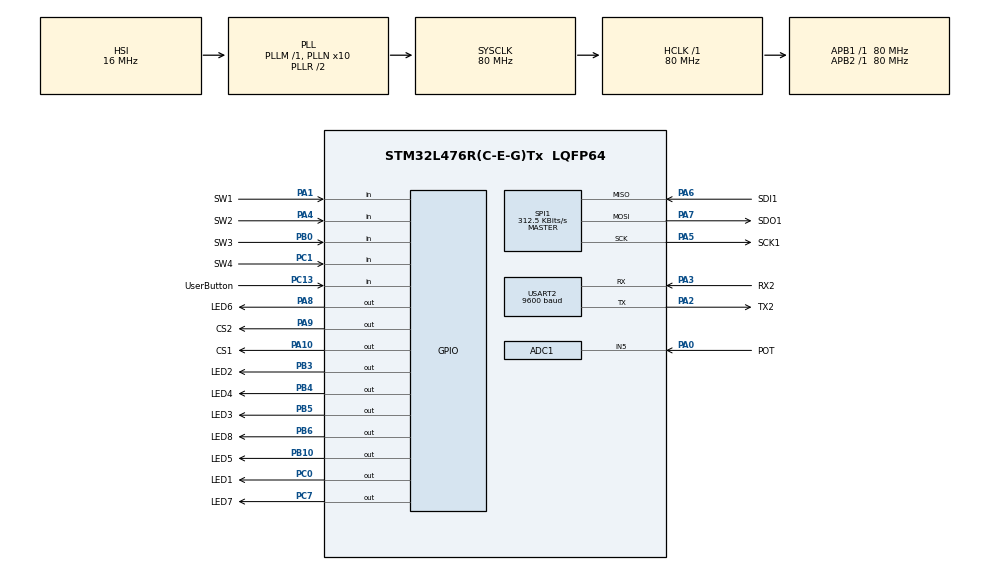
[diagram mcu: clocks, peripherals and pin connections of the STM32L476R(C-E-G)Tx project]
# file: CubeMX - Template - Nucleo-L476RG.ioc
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ADC1.Channel-0\#ChannelRegularConversion=ADC_CHANNEL_5
ADC1.NbrOfConversionFlag=1
ADC1.OffsetNumber-0\#ChannelRegularConversion=ADC_OFFSET_NONE
ADC1.Overrun=ADC_OVR_DATA_OVERWRITTEN
ADC1.Rank-0\#ChannelRegularConversion=1
ADC1.Resolution=ADC_RESOLUTION_12B
ADC1.SamplingTime-0\#ChannelRegularConversion=ADC_SAMPLETIME_2CYCLES_5
ADC1.master=1
Dma.Request0=SPI1_TX
Dma.SPI1_TX.0.Direction=DMA_MEMORY_TO_PERIPH
Dma.SPI1_TX.0.Instance=DMA1_Channel3
Dma.SPI1_TX.0.MemDataAlignment=DMA_MDATAALIGN_BYTE
Dma.SPI1_TX.0.MemInc=DMA_MINC_ENABLE
Dma.SPI1_TX.0.Mode=DMA_NORMAL
Dma.SPI1_TX.0.PeriphDataAlignment=DMA_PDATAALIGN_BYTE
Dma.SPI1_TX.0.PeriphInc=DMA_PINC_DISABLE
Dma.SPI1_TX.0.Priority=DMA_PRIORITY_MEDIUM
Mcu.Family=STM32L4
Mcu.Name=STM32L476R(C-E-G)Tx
Mcu.Package=LQFP64
NVIC.DMA1_Channel3_IRQn=true\:0\:0\:false\:false\:true\:false\:true\:true
NVIC.PriorityGroup=NVIC_PRIORITYGROUP_4
PA0.GPIO_Label=POT
PA0.Signal=ADCx_IN5
PA1.GPIO_Label=SW1
PA1.Signal=GPIO_Input
PA10.GPIO_Label=CS1
PA10.Signal=GPIO_Output
PA13\ (JTMS-SWDIO).GPIO_Label=TMS
PA13\ (JTMS-SWDIO).Mode=Serial_Wire
PA13\ (JTMS-SWDIO).Signal=SYS_JTMS-SWDIO
PA14\ (JTCK-SWCLK).GPIO_Label=TCK
PA14\ (JTCK-SWCLK).Mode=Serial_Wire
PA14\ (JTCK-SWCLK).Signal=SYS_JTCK-SWCLK
PA2.GPIO_Label=TX2
PA2.GPIO_Mode=GPIO_MODE_AF_PP
PA2.GPIO_PuPd=GPIO_NOPULL
PA2.GPIO_Speed=GPIO_SPEED_FREQ_VERY_HIGH
PA2.Mode=Asynchronous
PA2.Signal=USART2_TX
PA3.GPIO_Label=RX2
PA3.GPIO_Mode=GPIO_MODE_AF_PP
PA3.GPIO_PuPd=GPIO_NOPULL
PA3.GPIO_Speed=GPIO_SPEED_FREQ_VERY_HIGH
PA3.Mode=Asynchronous
PA3.Signal=USART2_RX
PA4.GPIO_Label=SW2
PA4.Signal=GPIO_Input
PA5.GPIO_Label=SCK1
PA5.Mode=Full_Duplex_Master
PA5.Signal=SPI1_SCK
PA6.GPIO_Label=SDI1
PA6.Mode=Full_Duplex_Master
PA6.Signal=SPI1_MISO
PA7.GPIO_Label=SDO1
PA7.Mode=Full_Duplex_Master
PA7.Signal=SPI1_MOSI
PA8.GPIO_Label=LED6
PA8.Signal=GPIO_Output
PA9.GPIO_Label=CS2
PA9.Signal=GPIO_Output
PB0.GPIO_Label=SW3
PB0.Signal=GPIO_Input
PB10.GPIO_Label=LED5
PB10.Signal=GPIO_Output
PB3\ (JTDO-TRACESWO).GPIO_Label=LED2
PB3\ (JTDO-TRACESWO).Signal=GPIO_Output
PB4\ (NJTRST).GPIO_Label=LED4
PB4\ (NJTRST).Signal=GPIO_Output
PB5.GPIO_Label=LED3
PB5.Signal=GPIO_Output
PB6.GPIO_Label=LED8
PB6.Signal=GPIO_Output
PC0.GPIO_Label=LED1
PC0.Signal=GPIO_Output
PC1.GPIO_Label=SW4
PC1.Signal=GPIO_Input
PC13.GPIO_Label=UserButton
PC13.Signal=GPIO_Input
PC7.GPIO_Label=LED7
PC7.Signal=GPIO_Output
ProjectManager.HeapSize=0x200
ProjectManager.StackSize=0x400
ProjectManager.TargetToolchain=MDK-ARM V5.32
RCC.ADCFreq_Value=64000000
RCC.AHBFreq_Value=80000000
RCC.APB1Freq_Value=80000000
RCC.APB1TimFreq_Value=80000000
RCC.APB2Freq_Value=80000000
RCC.APB2TimFreq_Value=80000000
RCC.CortexFreq_Value=80000000
RCC.HCLKFreq_Value=80000000
RCC.HSE_VALUE=8000000
RCC.HSI_VALUE=16000000
RCC.LSE_VALUE=32768
RCC.MSI_VALUE=4000000
RCC.PLLN=10
RCC.PLLSourceVirtual=RCC_PLLSOURCE_HSI
RCC.PREFETCH_ENABLE=1
RCC.SYSCLKFreq_VALUE=80000000
RCC.SYSCLKSource=RCC_SYSCLKSOURCE_PLLCLK
RCC.USBFreq_Value=64000000
RCC.VCOOutputFreq_Value=160000000
SH.ADCx_IN5.0=ADC1_IN5,IN5-Single-Ended
SPI1.BaudRatePrescaler=SPI_BAUDRATEPRESCALER_256
SPI1.CalculateBaudRate=312.5 KBits/s
SPI1.DataSize=SPI_DATASIZE_8BIT
SPI1.Direction=SPI_DIRECTION_2LINES
SPI1.Mode=SPI_MODE_MASTER
SPI1.NSSPMode=SPI_NSS_PULSE_DISABLE
SPI1.VirtualType=VM_MASTER
USART2.BaudRate=9600
USART2.OverrunDisableParam=ADVFEATURE_OVERRUN_DISABLE
USART2.VirtualMode-Asynchronous=VM_ASYNC
board=NUCLEO-L476RG

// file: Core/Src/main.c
/* USER CODE BEGIN Header */
/**
  ******************************************************************************
  * @file           : main.c
  * @brief          : Main program body
  ******************************************************************************
  * @attention
  *
  * Copyright (c) 2023 STMicroelectronics.
  * All rights reserved.
  *
  * This software is licensed under terms that can be found in the LICENSE file
  * in the root directory of this software component.
  * If no LICENSE file comes with this software, it is provided AS-IS.
  *
  ******************************************************************************
  */
	// Versie: 20252026
/* USER CODE END Header */
#include "main.h"

/* USER CODE BEGIN Includes */
#include "leds.h"
#include "buttons.h"
#include "usart2.h"
#include "ad.h"
#include "ioexpander.h"
#include "stdio.h"
#include "apa102c.h"
/* USER CODE END Includes */

ADC_HandleTypeDef hadc1;

SPI_HandleTypeDef hspi1;
DMA_HandleTypeDef hdma_spi1_tx;

UART_HandleTypeDef huart2;

/* USER CODE BEGIN PV */
APA102C rgbLeds[NUMBER_OF_APA102C_LEDS];
uint8_t source[4 + NUMBER_OF_APA102C_LEDS * 4 + 4];
/* USER CODE END PV */

void SystemClock_Config(void);
static void MX_GPIO_Init(void);
static void MX_DMA_Init(void);
static void MX_ADC1_Init(void);
static void MX_USART2_UART_Init(void);
static void MX_SPI1_Init(void);

int main(void)
{

  /* MCU Configuration--------------------------------------------------------*/

  /* Reset of all peripherals, Initializes the Flash interface and the Systick. */
  HAL_Init();

  /* Configure the system clock */
  SystemClock_Config();

  /* Initialize all configured peripherals */
  MX_GPIO_Init();
  MX_DMA_Init();
  MX_ADC1_Init();
  MX_USART2_UART_Init();
  MX_SPI1_Init();
  /* USER CODE BEGIN 2 */
	// Laten weten dat we opgestart zijn, via de USART2 (USB).
	printf("Reboot\r\n");

	// RGB-LED's intialiseren op 0
	rgbLeds[0].brightness = DEFAULT_LED_BRIGHTNESS;
	rgbLeds[0].red = 0;
	rgbLeds[0].green = 0;
	rgbLeds[0].blue = 0;

	rgbLeds[1].brightness = DEFAULT_LED_BRIGHTNESS;
	rgbLeds[1].red = 0;
	rgbLeds[1].green = 0;
	rgbLeds[1].blue = 0;

	rgbLeds[2].brightness = DEFAULT_LED_BRIGHTNESS;
	rgbLeds[2].red = 0;
	rgbLeds[2].green = 0;
	rgbLeds[2].blue = 0;

	rgbLeds[3].brightness = DEFAULT_LED_BRIGHTNESS;
	rgbLeds[3].red = 0;
	rgbLeds[3].green = 0;
	rgbLeds[3].blue = 0;

	rgbLeds[4].brightness = DEFAULT_LED_BRIGHTNESS;
	rgbLeds[4].red = 0;
	rgbLeds[4].green = 0;
	rgbLeds[4].blue = 0;

	UpdateAPA102CLeds(&hspi1, rgbLeds);

	HAL_Delay(250);

  /* USER CODE END 2 */

  /* Infinite loop */
  /* USER CODE BEGIN WHILE */
	uint8_t brightness = DEFAULT_LED_BRIGHTNESS;
	uint16_t adcValue = 0;

  while (1)
  {
		// GROEN LICHT (LED 2, index 2)
		adcValue = GetAdValue(&hadc1);
		brightness = (adcValue >> 7);  // 12-bit ADC naar 5-bit (0-31)
		if(brightness < 1) brightness = 1;  // Minimum helderheid = 1

		// LED 0 en LED 1 altijd uit
		rgbLeds[0].brightness = brightness;
		rgbLeds[0].red = 0;
		rgbLeds[0].green = 0;
		rgbLeds[0].blue = 0;

		rgbLeds[1].brightness = brightness;
		rgbLeds[1].red = 0;
		rgbLeds[1].green = 0;
		rgbLeds[1].blue = 0;

		// LED 2 = Groen
		rgbLeds[2].brightness = brightness;
		rgbLeds[2].red = 0;
		rgbLeds[2].green = 255;
		rgbLeds[2].blue = 0;

		// LED 3 en LED 4 uit
		rgbLeds[3].brightness = brightness;
		rgbLeds[3].red = 0;
		rgbLeds[3].green = 0;
		rgbLeds[3].blue = 0;
		// LED 4
		rgbLeds[4].brightness = brightness;
		rgbLeds[4].red = 0;
		rgbLeds[4].green = 0;
		rgbLeds[4].blue = 0;

		UpdateAPA102CLeds(&hspi1, rgbLeds);
		HAL_Delay(3000);  // Groen 3 seconden

		// ORANJE LICHT (LED 3, index 3)
		adcValue = GetAdValue(&hadc1); // Lees AD-waarde
		brightness = (adcValue >> 7); // 12-bit ADC naar 5-bit (0-31)
		if(brightness < 1) brightness = 1;// Minimum helderheid = 1

		rgbLeds[0].brightness = brightness; // LED 0 (1)
		rgbLeds[1].brightness = brightness; // LED 1
		rgbLeds[2].brightness = brightness; // LED 2
		rgbLeds[3].brightness = brightness; // LED 3
		rgbLeds[4].brightness = brightness;// LED 4

		// LED 2 uit
		rgbLeds[2].red = 0;
		rgbLeds[2].green = 0;
		rgbLeds[2].blue = 0;

		// LED 3 = Oranje
		rgbLeds[3].red = 255;
		rgbLeds[3].green = 128; // voor oranje 128 groen + 255 vna rood
		rgbLeds[3].blue = 0;

		// LED 4 uit
		rgbLeds[4].red = 0;
		rgbLeds[4].green = 0;
		rgbLeds[4].blue = 0;

		UpdateAPA102CLeds(&hspi1, rgbLeds);
		HAL_Delay(1000);  // Oranje 1 seconde

		//ROOD LICHT (LED 4, index 4)
		adcValue = GetAdValue(&hadc1);
		brightness = (adcValue >> 7);
		if(brightness < 1) brightness = 1;

		rgbLeds[0].brightness = brightness;
		rgbLeds[1].brightness = brightness;
		rgbLeds[2].brightness = brightness;
		rgbLeds[3].brightness = brightness;
		rgbLeds[4].brightness = brightness;

		// LED 2 uit
		rgbLeds[2].red = 0;
		rgbLeds[2].green = 0;
		rgbLeds[2].blue = 0;

		// LED 3 uit
		rgbLeds[3].red = 0;
		rgbLeds[3].green = 0;
		rgbLeds[3].blue = 0;

		// LED 4 = Rood
		rgbLeds[4].red = 255;
		rgbLeds[4].green = 0;
		rgbLeds[4].blue = 0;

		UpdateAPA102CLeds(&hspi1, rgbLeds);
		HAL_Delay(3000);  // Rood 3 seconden

    /* USER CODE END WHILE */

  }
}

void SystemClock_Config(void)
{
  RCC_OscInitTypeDef RCC_OscInitStruct = {0};
  RCC_ClkInitTypeDef RCC_ClkInitStruct = {0};

  /** Configure the main internal regulator output voltage
  */
  if (HAL_PWREx_ControlVoltageScaling(PWR_REGULATOR_VOLTAGE_SCALE1) != HAL_OK)
  {
    Error_Handler();
  }

  /** Initializes the RCC Oscillators according to the specified parameters
  * in the RCC_OscInitTypeDef structure.
  */
  RCC_OscInitStruct.OscillatorType = RCC_OSCILLATORTYPE_HSI;
  RCC_OscInitStruct.HSIState = RCC_HSI_ON;
  RCC_OscInitStruct.HSICalibrationValue = RCC_HSICALIBRATION_DEFAULT;
  RCC_OscInitStruct.PLL.PLLState = RCC_PLL_ON;
  RCC_OscInitStruct.PLL.PLLSource = RCC_PLLSOURCE_HSI;
  RCC_OscInitStruct.PLL.PLLM = 1;
  RCC_OscInitStruct.PLL.PLLN = 10;
  RCC_OscInitStruct.PLL.PLLP = RCC_PLLP_DIV7;
  RCC_OscInitStruct.PLL.PLLQ = RCC_PLLQ_DIV2;
  RCC_OscInitStruct.PLL.PLLR = RCC_PLLR_DIV2;
  if (HAL_RCC_OscConfig(&RCC_OscInitStruct) != HAL_OK)
  {
    Error_Handler();
  }

  /** Initializes the CPU, AHB and APB buses clocks
  */
  RCC_ClkInitStruct.ClockType = RCC_CLOCKTYPE_HCLK|RCC_CLOCKTYPE_SYSCLK
                              |RCC_CLOCKTYPE_PCLK1|RCC_CLOCKTYPE_PCLK2;
  RCC_ClkInitStruct.SYSCLKSource = RCC_SYSCLKSOURCE_PLLCLK;
  RCC_ClkInitStruct.AHBCLKDivider = RCC_SYSCLK_DIV1;
  RCC_ClkInitStruct.APB1CLKDivider = RCC_HCLK_DIV1;
  RCC_ClkInitStruct.APB2CLKDivider = RCC_HCLK_DIV1;

  if (HAL_RCC_ClockConfig(&RCC_ClkInitStruct, FLASH_LATENCY_4) != HAL_OK)
  {
    Error_Handler();
  }
}

static void MX_ADC1_Init(void)
{

  ADC_MultiModeTypeDef multimode = {0};
  ADC_ChannelConfTypeDef sConfig = {0};

  /** Common config
  */
  hadc1.Instance = ADC1;
  hadc1.Init.ClockPrescaler = ADC_CLOCK_ASYNC_DIV1;
  hadc1.Init.Resolution = ADC_RESOLUTION_12B;
  hadc1.Init.DataAlign = ADC_DATAALIGN_RIGHT;
  hadc1.Init.ScanConvMode = ADC_SCAN_DISABLE;
  hadc1.Init.EOCSelection = ADC_EOC_SINGLE_CONV;
  hadc1.Init.LowPowerAutoWait = DISABLE;
  hadc1.Init.ContinuousConvMode = DISABLE;
  hadc1.Init.NbrOfConversion = 1;
  hadc1.Init.DiscontinuousConvMode = DISABLE;
  hadc1.Init.ExternalTrigConv = ADC_SOFTWARE_START;
  hadc1.Init.ExternalTrigConvEdge = ADC_EXTERNALTRIGCONVEDGE_NONE;
  hadc1.Init.DMAContinuousRequests = DISABLE;
  hadc1.Init.Overrun = ADC_OVR_DATA_OVERWRITTEN;
  hadc1.Init.OversamplingMode = DISABLE;
  if (HAL_ADC_Init(&hadc1) != HAL_OK)
  {
    Error_Handler();
  }

  /** Configure the ADC multi-mode
  */
  multimode.Mode = ADC_MODE_INDEPENDENT;
  if (HAL_ADCEx_MultiModeConfigChannel(&hadc1, &multimode) != HAL_OK)
  {
    Error_Handler();
  }

  /** Configure Regular Channel
  */
  sConfig.Channel = ADC_CHANNEL_5;
  sConfig.Rank = ADC_REGULAR_RANK_1;
  sConfig.SamplingTime = ADC_SAMPLETIME_2CYCLES_5;
  sConfig.SingleDiff = ADC_SINGLE_ENDED;
  sConfig.OffsetNumber = ADC_OFFSET_NONE;
  sConfig.Offset = 0;
  if (HAL_ADC_ConfigChannel(&hadc1, &sConfig) != HAL_OK)
  {
    Error_Handler();
  }

}

static void MX_SPI1_Init(void)
{

  /* SPI1 parameter configuration*/
  hspi1.Instance = SPI1;
  hspi1.Init.Mode = SPI_MODE_MASTER;
  hspi1.Init.Direction = SPI_DIRECTION_2LINES;
  hspi1.Init.DataSize = SPI_DATASIZE_8BIT;
  hspi1.Init.CLKPolarity = SPI_POLARITY_LOW;
  hspi1.Init.CLKPhase = SPI_PHASE_1EDGE;
  hspi1.Init.NSS = SPI_NSS_SOFT;
  hspi1.Init.BaudRatePrescaler = SPI_BAUDRATEPRESCALER_256;
  hspi1.Init.FirstBit = SPI_FIRSTBIT_MSB;
  hspi1.Init.TIMode = SPI_TIMODE_DISABLE;
  hspi1.Init.CRCCalculation = SPI_CRCCALCULATION_DISABLE;
  hspi1.Init.CRCPolynomial = 7;
  hspi1.Init.CRCLength = SPI_CRC_LENGTH_DATASIZE;
  hspi1.Init.NSSPMode = SPI_NSS_PULSE_DISABLE;
  if (HAL_SPI_Init(&hspi1) != HAL_OK)
  {
    Error_Handler();
  }

}

static void MX_USART2_UART_Init(void)
{

  huart2.Instance = USART2;
  huart2.Init.BaudRate = 9600;
  huart2.Init.WordLength = UART_WORDLENGTH_8B;
  huart2.Init.StopBits = UART_STOPBITS_1;
  huart2.Init.Parity = UART_PARITY_NONE;
  huart2.Init.Mode = UART_MODE_TX_RX;
  huart2.Init.HwFlowCtl = UART_HWCONTROL_NONE;
  huart2.Init.OverSampling = UART_OVERSAMPLING_16;
  huart2.Init.OneBitSampling = UART_ONE_BIT_SAMPLE_DISABLE;
  huart2.AdvancedInit.AdvFeatureInit = UART_ADVFEATURE_RXOVERRUNDISABLE_INIT;
  huart2.AdvancedInit.OverrunDisable = UART_ADVFEATURE_OVERRUN_DISABLE;
  if (HAL_UART_Init(&huart2) != HAL_OK)
  {
    Error_Handler();
  }

}

static void MX_DMA_Init(void)
{

  /* DMA controller clock enable */
  __HAL_RCC_DMA1_CLK_ENABLE();

  /* DMA interrupt init */
  /* DMA1_Channel3_IRQn interrupt configuration */
  HAL_NVIC_SetPriority(DMA1_Channel3_IRQn, 0, 0);
  HAL_NVIC_EnableIRQ(DMA1_Channel3_IRQn);

}

static void MX_GPIO_Init(void)
{
  GPIO_InitTypeDef GPIO_InitStruct = {0};

  /* GPIO Ports Clock Enable */
  __HAL_RCC_GPIOC_CLK_ENABLE();
  __HAL_RCC_GPIOA_CLK_ENABLE();
  __HAL_RCC_GPIOB_CLK_ENABLE();

  /*Configure GPIO pin Output Level */
  HAL_GPIO_WritePin(GPIOC, LED1_Pin|LED7_Pin, GPIO_PIN_RESET);

  /*Configure GPIO pin Output Level */
  HAL_GPIO_WritePin(GPIOB, LED5_Pin|LED2_Pin|LED4_Pin|LED3_Pin
                          |LED8_Pin, GPIO_PIN_RESET);

  /*Configure GPIO pin Output Level */
  HAL_GPIO_WritePin(GPIOA, LED6_Pin|CS2_Pin|CS1_Pin, GPIO_PIN_RESET);

  /*Configure GPIO pins : UserButton_Pin SW4_Pin */
  GPIO_InitStruct.Pin = UserButton_Pin|SW4_Pin;
  GPIO_InitStruct.Mode = GPIO_MODE_INPUT;
  GPIO_InitStruct.Pull = GPIO_NOPULL;
  HAL_GPIO_Init(GPIOC, &GPIO_InitStruct);

  /*Configure GPIO pins : LED1_Pin LED7_Pin */
  GPIO_InitStruct.Pin = LED1_Pin|LED7_Pin;
  GPIO_InitStruct.Mode = GPIO_MODE_OUTPUT_PP;
  GPIO_InitStruct.Pull = GPIO_NOPULL;
  GPIO_InitStruct.Speed = GPIO_SPEED_FREQ_LOW;
  HAL_GPIO_Init(GPIOC, &GPIO_InitStruct);

  /*Configure GPIO pins : SW1_Pin SW2_Pin */
  GPIO_InitStruct.Pin = SW1_Pin|SW2_Pin;
  GPIO_InitStruct.Mode = GPIO_MODE_INPUT;
  GPIO_InitStruct.Pull = GPIO_NOPULL;
  HAL_GPIO_Init(GPIOA, &GPIO_InitStruct);

  /*Configure GPIO pin : SW3_Pin */
  GPIO_InitStruct.Pin = SW3_Pin;
  GPIO_InitStruct.Mode = GPIO_MODE_INPUT;
  GPIO_InitStruct.Pull = GPIO_NOPULL;
  HAL_GPIO_Init(SW3_GPIO_Port, &GPIO_InitStruct);

  /*Configure GPIO pins : LED5_Pin LED2_Pin LED4_Pin LED3_Pin
                           LED8_Pin */
  GPIO_InitStruct.Pin = LED5_Pin|LED2_Pin|LED4_Pin|LED3_Pin
                          |LED8_Pin;
  GPIO_InitStruct.Mode = GPIO_MODE_OUTPUT_PP;
  GPIO_InitStruct.Pull = GPIO_NOPULL;
  GPIO_InitStruct.Speed = GPIO_SPEED_FREQ_LOW;
  HAL_GPIO_Init(GPIOB, &GPIO_InitStruct);

  /*Configure GPIO pins : LED6_Pin CS2_Pin CS1_Pin */
  GPIO_InitStruct.Pin = LED6_Pin|CS2_Pin|CS1_Pin;
  GPIO_InitStruct.Mode = GPIO_MODE_OUTPUT_PP;
  GPIO_InitStruct.Pull = GPIO_NOPULL;
  GPIO_InitStruct.Speed = GPIO_SPEED_FREQ_LOW;
  HAL_GPIO_Init(GPIOA, &GPIO_InitStruct);

}

/* USER CODE BEGIN 4 */
void HAL_SPI_TxCpltCallback(SPI_HandleTypeDef * hspi)
{
	if(hspi->Instance == SPI1)
	{
		ToggleLed(8);												// Teken van leven geven...
	}
}
/* USER CODE END 4 */

void Error_Handler(void)
{
  __disable_irq();
  while (1)
  {
  }
}
#ifdef USE_FULL_ASSERT
/**
  * @brief  Reports the name of the source file and the source line number
  *         where the assert_param error has occurred.
  * @param  file: pointer to the source file name
  * @param  line: assert_param error line source number
  * @retval None
  */
void assert_failed(uint8_t *file, uint32_t line)
{
  /* USER CODE BEGIN 6 */
  /* User can add his own implementation to report the file name and line number,
     ex: printf("Wrong parameters value: file %s on line %d\r\n", file, line) */
// Versie: 20252026
  /* USER CODE END 6 */
}
#endif /* USE_FULL_ASSERT */
